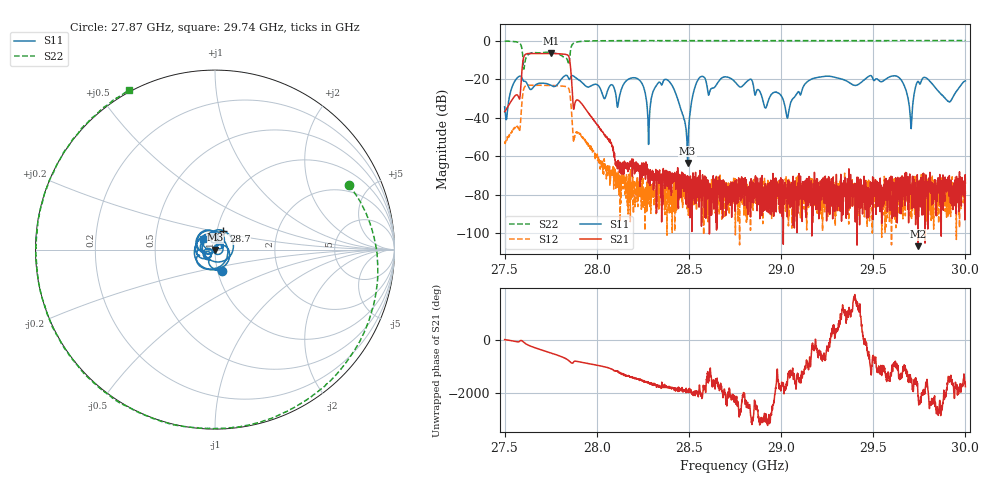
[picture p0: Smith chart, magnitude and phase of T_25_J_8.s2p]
!Keysight Technologies,N5234A,MY55441357,A.10.47.05
!Date: Sunday, November 19, 2017 13:26:33
!Correction: S11(Full 2 Port(1,2))
!S21(Full 2 Port(1,2))
!S12(Full 2 Port(1,2))
!S22(Full 2 Port(1,2))
!S2P File: Measurements: S11, S21, S12, S22:
# Hz S  dB  R 50
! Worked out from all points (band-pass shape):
!   2501 points, 27.5 GHz to 30 GHz, reference 50 ohm
!   highest |S21| = -6.59 dB at 27.75 GHz (marker M1); lowest = -106.7 dB at 29.74 GHz (marker M2)
!   |S21| within 3 dB of the highest: 27.6 GHz to 27.85 GHz (250.9 MHz wide, 0.905 % of centre)
!   lowest |S11| = -63.5 dB at 28.49 GHz (marker M3), VSWR 1.00, Z = 50.1 - j0.0247 ohm
!   |S11| at or under -10 dB: start of sweep to end of sweep
!   |S22| runs from -14.8 to 0.1 dB; largest |S21 - S12| = 0.54
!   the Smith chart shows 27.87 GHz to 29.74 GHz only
!   S11 on the Smith chart (normalised r, x): 27.87 GHz: 1.05, -0.25; 28.7 GHz: 1.07, +0.23; 29.74 GHz: 0.87, +0.10
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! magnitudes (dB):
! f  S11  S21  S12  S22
! 27.5 GHz  -34.4  -36.9  -52.8  -0.2
! 27.58 GHz  -18.6  -29.6  -46.0  -1.0
! 27.61 GHz  -21.2  -7.1  -23.5  -9.5
! 27.75 GHz  -23.2  -6.6  -23.2  -6.3
! 27.84 GHz  -18.7  -7.5  -24.2  -10.7
! 27.87 GHz  -18.1  -30.8  -47.2  -1.6
! 27.92 GHz  -21.4  -32.5  -49.0  -0.3
! 28.22 GHz  -19.6  -64.1  -83.7  0.0
! 28.28 GHz  -50.3  -67.7  -80.4  0.0
! 28.33 GHz  -21.8  -70.6  -74.8  0.0
! 28.41 GHz  -23.3  -68.7  -99.6  0.0
! 28.49 GHz  -63.5  -70.1  -75.3  0.0
! 28.55 GHz  -20.0  -77.1  -76.7  0.0
! 28.7 GHz  -18.8  -79.2  -73.6  0.0
! 28.75 GHz  -21.4  -76.3  -77.7  0.0
! 29.03 GHz  -40.3  -91.6  -82.4  0.0
! 29.17 GHz  -19.9  -101.4  -71.7  0.0
! 29.58 GHz  -19.0  -75.8  -84.9  0.0
! 29.7 GHz  -44.4  -77.3  -92.2  0.1
! 29.74 GHz  -21.2  -86.0  -76.7  0.1
! 29.74 GHz  -21.2  -106.7  -80.5  0.1
! 30 GHz  -20.9  -73.9  -79.6  0.1
